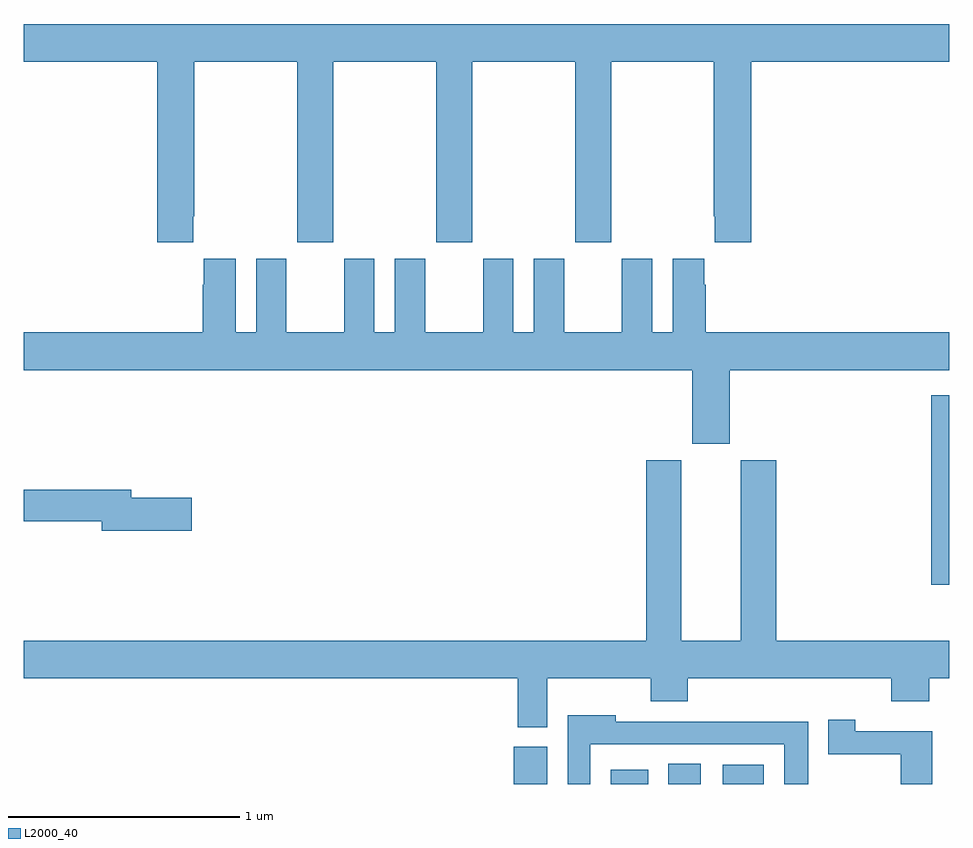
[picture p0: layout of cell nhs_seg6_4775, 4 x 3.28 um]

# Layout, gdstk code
import gdstk
lib = gdstk.Library(unit=1e-6, precision=1e-09)
def R(c, l, rs):  # rectangles x0, y0, x1, y1
    for r in rs: c.add(gdstk.rectangle(r[:2], r[2:], *l))
def P(c, l, *ps):  # polygons
    for p in ps: c.add(gdstk.Polygon(p, *l))
L2000_40 = (2000, 40)

nhs_seg6_4775 = lib.new_cell('nhs_seg6_4775')
R(nhs_seg6_4775, L2000_40, [(395.117,993.5,395.263,993.66), (395.537,993.5,395.698,993.562), (395.786,993.5,395.926,993.587), (396.02,993.5,396.199,993.583), (396.922,994.362,397,995.179)])
P(nhs_seg6_4775, L2000_40, [(393.733,995.953),(393.738,995.953),(393.738,996.62),(394.183,996.62),(394.183,995.841),(394.338,995.841),(394.338,996.62),(394.783,996.62),(394.783,995.841),(394.938,995.841),(394.938,996.62),(395.383,996.62),(395.383,995.841),(395.538,995.841),(395.538,996.62),(395.983,996.62),(395.983,995.953),(395.987,995.953),(395.987,995.841),(396.143,995.841),(396.143,996.62),(397,996.62),(397,996.784),(393,996.784),(393,996.62),(393.578,996.62),(393.578,995.841),(393.733,995.841)],
  [(396.052,995.288),(397,995.288),(397,995.452),(395.948,995.452),(395.948,995.657),(395.941,995.657),(395.941,995.77),(395.804,995.77),(395.804,995.452),(395.716,995.452),(395.716,995.77),(395.585,995.77),(395.585,995.452),(395.335,995.452),(395.335,995.77),(395.204,995.77),(395.204,995.452),(395.116,995.452),(395.116,995.77),(394.985,995.77),(394.985,995.452),(394.735,995.452),(394.735,995.77),(394.604,995.77),(394.604,995.452),(394.516,995.452),(394.516,995.77),(394.385,995.77),(394.385,995.452),(394.135,995.452),(394.135,995.77),(394.004,995.77),(394.004,995.452),(393.916,995.452),(393.916,995.77),(393.779,995.77),(393.779,995.657),(393.773,995.657),(393.773,995.452),(393,995.452),(393,995.288),(395.888,995.288),(395.888,994.971),(396.052,994.971)],
  [(395.263,993.956),(395.71,993.956),(395.71,993.857),(395.87,993.857),(395.87,993.956),(396.749,993.956),(396.749,993.857),(396.914,993.857),(396.914,993.956),(397,993.956),(397,994.12),(396.251,994.12),(396.251,994.899),(396.098,994.899),(396.098,994.12),(395.842,994.12),(395.842,994.899),(395.69,994.899),(395.69,994.12),(393,994.12),(393,993.956),(395.135,993.956),(395.135,993.745),(395.263,993.745)],
  [(393.727,994.736),(393.466,994.736),(393.466,994.772),(393,994.772),(393,994.636),(393.338,994.636),(393.338,994.594),(393.727,994.594)],
  [(395.448,993.672),(396.287,993.672),(396.287,993.5),(396.391,993.5),(396.391,993.77),(395.953,993.77),(395.953,993.768),(395.559,993.768),(395.559,993.796),(395.352,993.796),(395.352,993.5),(395.448,993.5)],
  [(396.926,993.727),(396.594,993.727),(396.594,993.778),(396.476,993.778),(396.476,993.628),(396.791,993.628),(396.791,993.5),(396.926,993.5)])

lib.write_gds('nhs_seg6_4775.gds')
